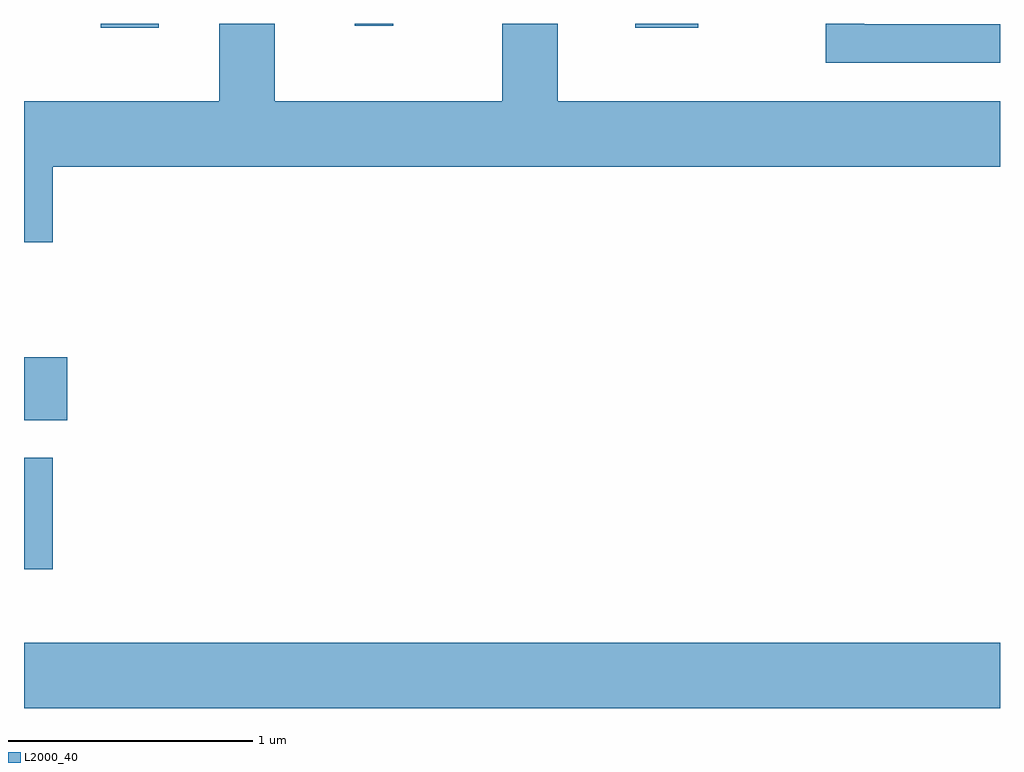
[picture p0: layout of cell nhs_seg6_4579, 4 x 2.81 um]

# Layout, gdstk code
import gdstk
lib = gdstk.Library(unit=1e-6, precision=1e-09)
def R(c, l, rs):  # rectangles x0, y0, x1, y1
    for r in rs: c.add(gdstk.rectangle(r[:2], r[2:], *l))
def P(c, l, *ps):  # polygons
    for p in ps: c.add(gdstk.Polygon(p, *l))
L2000_40 = (2000, 40)

nhs_seg6_4579 = lib.new_cell('nhs_seg6_4579')
R(nhs_seg6_4579, L2000_40, [(325.611,1563.356,329.611,1563.624), (325.611,1563.926,325.729,1564.384), (325.611,1564.536,325.789,1564.794), (325.926,1566.146,326.164,1566.162), (328.116,1566.146,328.374,1566.162), (326.966,1566.153,327.124,1566.162)])
P(nhs_seg6_4579, L2000_40, [(325.729,1565.576),(329.611,1565.576),(329.611,1565.844),(327.799,1565.844),(327.799,1566.162),(327.571,1566.162),(327.571,1565.844),(326.639,1565.844),(326.639,1566.162),(326.411,1566.162),(326.411,1565.844),(325.611,1565.844),(325.611,1565.266),(325.729,1565.266)],
  [(329.611,1566.159),(329.054,1566.159),(329.054,1566.162),(328.896,1566.162),(328.896,1566.001),(329.611,1566.001)])

lib.write_gds('nhs_seg6_4579.gds')
